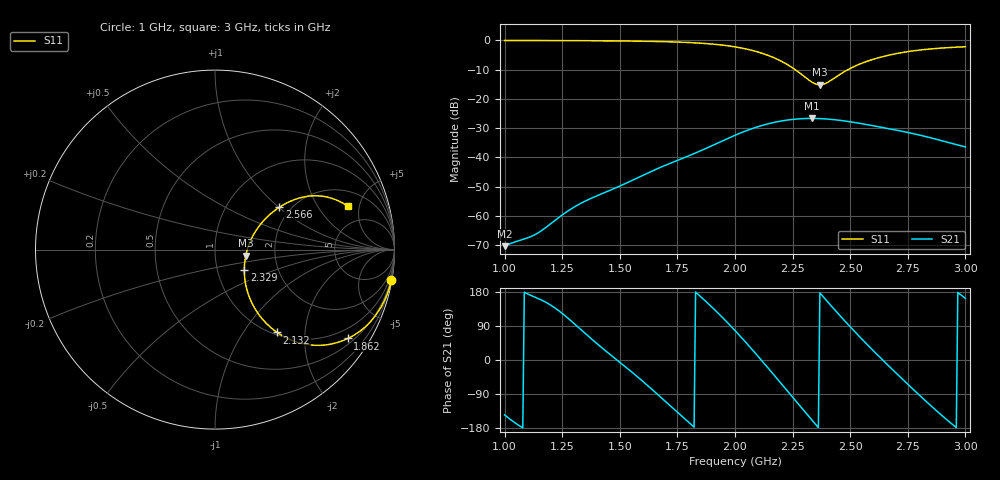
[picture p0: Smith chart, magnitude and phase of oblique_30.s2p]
! TOUCHSTONE file generated by CST MICROWAVE STUDIO
! Date and time: Tue Mar 18 00:00:57 2025
! Project name: oblique.cst
! Parameters = {Tilt=30; Fracture=1; B=10; D=160; F=15; Feed=2.85625; L=100; M=10; R=0.384908; S=2; Theta=270; length=57.125; wave=114.25}
! Header version: 2024
! Port assignment regex: !\s*Touchstone port\s*([0-9]+)\s*=\s*(CST MWS port|CST DES external port|CST DES block port)\s*(.+)\s* \(\"(.*)\"\)(\s*mode\s*([0-9]+))?.*
! Touchstone port assignment:
! Touchstone port 1 = CST MWS port 1 ("")
! Touchstone port 2 = CST MWS port 2 ("")
# GHz S DB R 50
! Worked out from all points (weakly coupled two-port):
!   305 points, 1 GHz to 3 GHz, reference 50 ohm
!   highest |S21| = -26.68 dB at 2.336 GHz (marker M1); lowest = -70.4 dB at 1 GHz (marker M2)
!   lowest |S11| = -15.2 dB at 2.368 GHz (marker M3), VSWR 1.42, Z = 70.5 - j4.98 ohm
!   |S11| at or under -10 dB: 2.261 GHz to 2.49 GHz (229 MHz wide, 9.64 % of centre)
!   S12 and S22 are empty: the file has one direction only
!   S11 on the Smith chart (normalised r, x): 1 GHz: 0, -12; 1.862 GHz: 0.66, -3.17; 2.132 GHz: 1.04, -1.44; 2.329 GHz: 1.35, -0.32; 2.566 GHz: 1.75, +1.01; 3 GHz: 3.14, +3.86
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1  -0.02 -9.8  -70.35 -145.0  -200.00 0.0  -200.00 0.0
1.13816  -0.04 -11.8  -66.13 164.2  -200.00 0.0  -200.00 0.0
1.26974  -0.07 -14.0  -58.59 113.0  -200.00 0.0  -200.00 0.0
1.33553  -0.09 -15.2  -55.50 77.9  -200.00 0.0  -200.00 0.0
1.67105  -0.38 -24.5  -43.58 -94.6  -200.00 0.0  -200.00 0.0
1.76974  -0.62 -28.8  -40.41 -148.5  -200.00 0.0  -200.00 0.0
1.86184  -1.01 -33.8  -37.35 161.2  -200.00 0.0  -200.00 0.0
2  -2.20 -43.4  -32.42 77.8  -200.00 0.0  -200.00 0.0
2.06579  -3.25 -48.5  -30.39 33.6  -200.00 0.0  -200.00 0.0
2.13158  -4.78 -53.1  -28.77 -12.6  -200.00 0.0  -200.00 0.0
2.22368  -8.10 -55.9  -27.27 -79.0  -200.00 0.0  -200.00 0.0
2.27632  -10.87 -51.6  -26.83 -117.1  -200.00 0.0  -200.00 0.0
2.32895  -14.00 -35.1  -26.68 -155.0  -200.00 0.0  -200.00 0.0
2.33553  -14.33 -31.7  -26.68 -159.7  -200.00 0.0  -200.00 0.0
2.36842  -15.16 -11.3  -26.74 177.0  -200.00 0.0  -200.00 0.0
2.40132  -14.37 8.4  -26.89 154.0  -200.00 0.0  -200.00 0.0
2.46711  -11.05 28.2  -27.44 109.3  -200.00 0.0  -200.00 0.0
2.51316  -9.08 32.3  -27.98 79.1  -200.00 0.0  -200.00 0.0
2.56579  -7.35 33.3  -28.69 45.8  -200.00 0.0  -200.00 0.0
2.67105  -4.99 31.1  -30.24 -17.9  -200.00 0.0  -200.00 0.0
2.82895  -3.07 24.3  -32.89 -109.0  -200.00 0.0  -200.00 0.0
3  -2.16 18.0  -36.40 162.4  -200.00 0.0  -200.00 0.0
